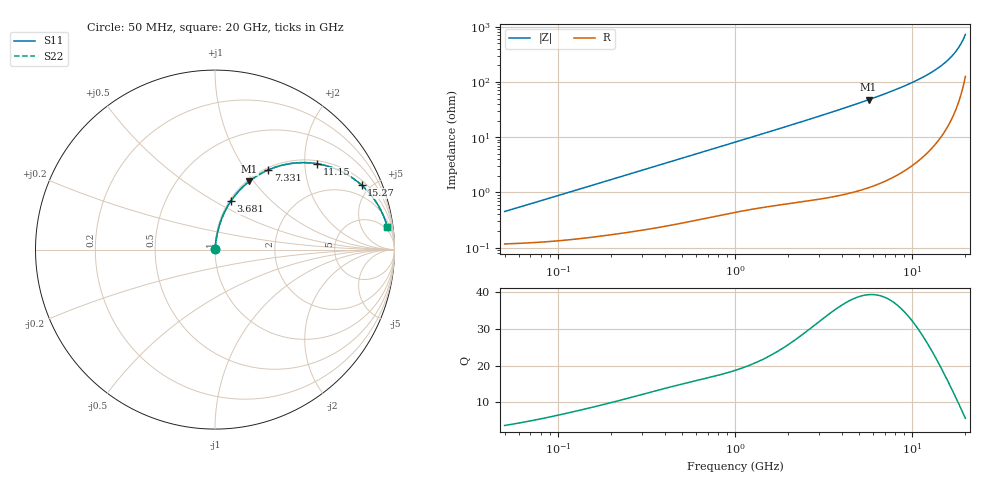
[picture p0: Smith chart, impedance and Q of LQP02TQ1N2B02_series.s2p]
!Murata Part Number: LQP02TQ1N2B02
!These Parameters are Measured in Series Mode Connection
!  o--[Z]--o
!Port1  Port2
!  o-------o
!Freq. Start=50[MHz] Stop=20[GHz], 401[Steps]
# Hz S RI R 50
!Freq.(Hz) S11(Real) S11(Imag) S21(Real) S21(Imag) S12(Real) S12(Imag) S22(Real) S22(Imag)
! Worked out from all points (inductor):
!   401 points, 50 MHz to 20 GHz, reference 50 ohm
!   read as one part in series: L = 1.38 nH near 51.52 MHz
!   highest Q = 39.3 at 5.683 GHz (marker M1), where L = 1.33 nH
!   S11 on the Smith chart (normalised r, x): 50 MHz: 1.00, +0.01; 3.681 GHz: 1.02, +0.59; 7.331 GHz: 1.03, +1.28; 11.15 GHz: 1.08, +2.31; 15.27 GHz: 1.25, +4.41; 20 GHz: 4, +14
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5e7  0.00118 0.00433  0.9988 -0.00433  0.9988 -0.00433  0.00118 0.00433
1.364002e8  0.00159 0.0116  0.9984 -0.0116  0.9984 -0.0116  0.00159 0.0116
3.721004e8  0.00326 0.0308  0.9967 -0.0308  0.9967 -0.0308  0.00326 0.0308
6.285508e8  0.00582 0.0511  0.9942 -0.0511  0.9942 -0.0511  0.00582 0.0511
1e9  0.0107 0.0797  0.9893 -0.0797  0.9893 -0.0797  0.0107 0.0797
1.714689e9  0.0239 0.1331  0.9761 -0.1331  0.9761 -0.1331  0.0239 0.1331
2.728004e9  0.0517 0.2056  0.9483 -0.2056  0.9483 -0.2056  0.0517 0.2056
3.680849e9  0.0877 0.269  0.9123 -0.269  0.9123 -0.269  0.0877 0.269
4.608136e9  0.1312 0.3247  0.8688 -0.3247  0.8688 -0.3247  0.1312 0.3247
5.683258e9  0.1909 0.3805  0.8091 -0.3805  0.8091 -0.3805  0.1909 0.3805
7.331367e9  0.2971 0.444  0.7029 -0.444  0.7029 -0.444  0.2971 0.444
7.442007e9  0.3047 0.4473  0.6953 -0.4473  0.6953 -0.4473  0.3047 0.4473
9.316812e9  0.4383 0.4817  0.5617 -0.4817  0.5617 -0.4817  0.4383 0.4817
1.115139e10  0.5697 0.4782  0.4303 -0.4782  0.4303 -0.4782  0.5697 0.4782
1.314879e10  0.7009 0.437  0.2991 -0.437  0.2991 -0.437  0.7009 0.437
1.417136e10  0.7601 0.4034  0.2399 -0.4034  0.2399 -0.4034  0.7601 0.4034
1.527346e10  0.8163 0.3598  0.1837 -0.3598  0.1837 -0.3598  0.8163 0.3598
1.646126e10  0.8673 0.3062  0.1327 -0.3062  0.1327 -0.3062  0.8673 0.3062
1.774144e10  0.9109 0.2434  0.0891 -0.2434  0.0891 -0.2434  0.9109 0.2434
1.855685e10  0.9325 0.2019  0.0675 -0.2019  0.0675 -0.2019  0.9325 0.2019
1.940974e10  0.9502 0.1578  0.0498 -0.1578  0.0498 -0.1578  0.9502 0.1578
2e10  0.9597 0.1273  0.0403 -0.1273  0.0403 -0.1273  0.9597 0.1273
